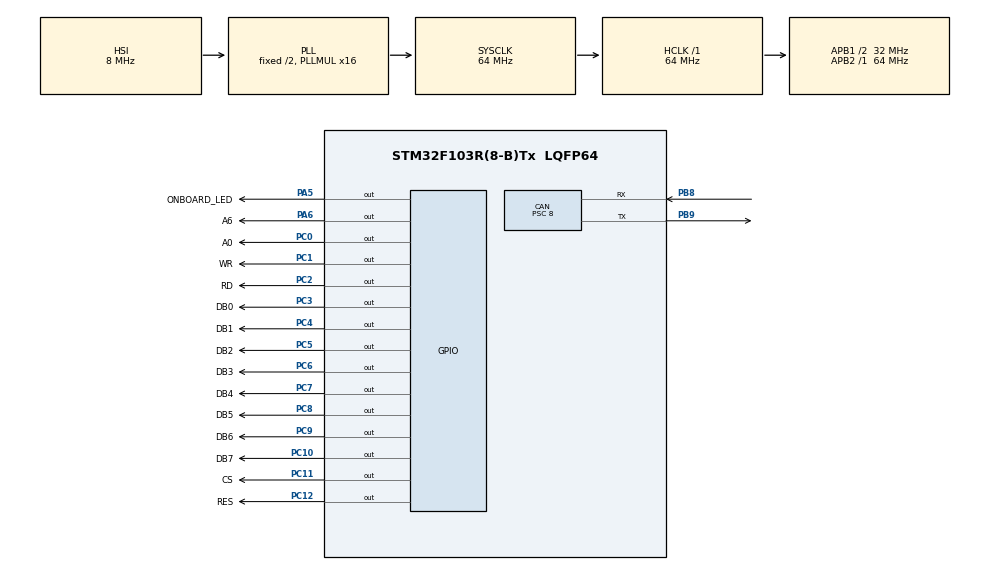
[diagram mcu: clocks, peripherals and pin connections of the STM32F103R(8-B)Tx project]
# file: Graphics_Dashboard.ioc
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CAN.BS1=CAN_BS1_13TQ
CAN.BS2=CAN_BS2_4TQ
CAN.CalculateBaudRate=222222
CAN.CalculateTimeBit=4500
CAN.CalculateTimeQuantum=250.0
CAN.Prescaler=8
Mcu.Family=STM32F1
Mcu.Name=STM32F103R(8-B)Tx
Mcu.Package=LQFP64
NVIC.PriorityGroup=NVIC_PRIORITYGROUP_4
NVIC.TIM2_IRQn=true\:0\:0\:false\:false\:true\:true\:true\:true
NVIC.USB_LP_CAN1_RX0_IRQn=true\:0\:0\:false\:false\:true\:true\:true\:true
PA5.GPIO_Label=ONBOARD_LED
PA5.Signal=GPIO_Output
PA6.GPIO_Label=A6
PA6.Signal=GPIO_Output
PB8.Mode=CAN_Activate
PB8.Signal=CAN_RX
PB9.Mode=CAN_Activate
PB9.Signal=CAN_TX
PC0.GPIO_Label=A0
PC0.Signal=GPIO_Output
PC1.GPIO_Label=WR
PC1.Signal=GPIO_Output
PC10.GPIO_Label=DB7
PC10.Signal=GPIO_Output
PC11.GPIO_Label=CS
PC11.Signal=GPIO_Output
PC12.GPIO_Label=RES
PC12.Signal=GPIO_Output
PC2.GPIO_Label=RD
PC2.Signal=GPIO_Output
PC3.GPIO_Label=DB0
PC3.Signal=GPIO_Output
PC4.GPIO_Label=DB1
PC4.Signal=GPIO_Output
PC5.GPIO_Label=DB2
PC5.Signal=GPIO_Output
PC6.GPIO_Label=DB3
PC6.Signal=GPIO_Output
PC7.GPIO_Label=DB4
PC7.Signal=GPIO_Output
PC8.GPIO_Label=DB5
PC8.Signal=GPIO_Output
PC9.GPIO_Label=DB6
PC9.Signal=GPIO_Output
ProjectManager.HeapSize=0x200
ProjectManager.StackSize=0x400
ProjectManager.TargetToolchain=STM32CubeIDE
RCC.AHBFreq_Value=64000000
RCC.APB1CLKDivider=RCC_HCLK_DIV2
RCC.APB1Freq_Value=32000000
RCC.APB1TimFreq_Value=64000000
RCC.APB2Freq_Value=64000000
RCC.APB2TimFreq_Value=64000000
RCC.HCLKFreq_Value=64000000
RCC.PLLMUL=RCC_PLL_MUL16
RCC.SYSCLKFreq_VALUE=64000000
RCC.SYSCLKSource=RCC_SYSCLKSOURCE_PLLCLK
RCC.USBFreq_Value=64000000
TIM2.Period=10000-1
TIM2.Prescaler=6400-1
VP_SYS_VS_ND.Mode=No_Debug
VP_TIM2_VS_ClockSourceINT.Mode=Internal
board=custom

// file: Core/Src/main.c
/* USER CODE BEGIN Header */
/**
 ******************************************************************************
 * @file           : main.c
 * @brief          : Main program body
 ******************************************************************************
 * @attention
 *
 * Copyright (c) 2022 STMicroelectronics.
 * All rights reserved.
 *
 * This software is licensed under terms that can be found in the LICENSE file
 * in the root directory of this software component.
 * If no LICENSE file comes with this software, it is provided AS-IS.
 *
 ******************************************************************************
 */
/* USER CODE END Header */
#include "main.h"
#include "can.h"
#include "tim.h"
#include "gpio.h"

/* USER CODE BEGIN Includes */

#include "Graphics/sed1335-driver.h"
#include "Graphics/sed1335-graphic.h"
#include "Graphics/Assets/font-lucida.h"
#include "Graphics/Assets/bitmap-solar-logo.h"

/* USER CODE END Includes */

void SystemClock_Config(void);

int main(void)
{

  /* MCU Configuration--------------------------------------------------------*/

  /* Reset of all peripherals, Initializes the Flash interface and the Systick. */
  HAL_Init();

  /* Configure the system clock */
  SystemClock_Config();

  /* Initialize all configured peripherals */
  MX_GPIO_Init();
  MX_CAN_Init();
  MX_TIM2_Init();
  /* USER CODE BEGIN 2 */

  GLCD_Initialize();

  /* USER CODE END 2 */

  /* Infinite loop */
	while (1) {

    /* USER CODE BEGIN 3 */
		// Toggle onboard LED to show activity
		HAL_GPIO_TogglePin(ONBOARD_LED_GPIO_Port, ONBOARD_LED_Pin);

		// Draw circle
		GLCD_Circle(0, 0, 10);
		GLCD_ClearText();
		HAL_Delay(500);

		// Draw UBC Solar logo
		GLCD_Bitmap(&BITMAP_SOLAR_LOGO, 0, 0, 200, 200);
		GLCD_ClearText();
		HAL_Delay(500);

		// Draw text from ROM
		GLCD_TextGoTo(0,0);
		GLCD_WriteText("Hello World");
		GLCD_ClearText();
		HAL_Delay(500);

		// Draw text from bitmap
		GLCD_WriteBitmapText("Hello World", 0, 0, LUCIDA_FONT);
		GLCD_ClearText();
		HAL_Delay(500);

		HAL_Delay(1000);
	}
  /* USER CODE END 3 */
}

void SystemClock_Config(void)
{
  RCC_OscInitTypeDef RCC_OscInitStruct = {0};
  RCC_ClkInitTypeDef RCC_ClkInitStruct = {0};

  /** Initializes the RCC Oscillators according to the specified parameters
  * in the RCC_OscInitTypeDef structure.
  */
  RCC_OscInitStruct.OscillatorType = RCC_OSCILLATORTYPE_HSI;
  RCC_OscInitStruct.HSIState = RCC_HSI_ON;
  RCC_OscInitStruct.HSICalibrationValue = RCC_HSICALIBRATION_DEFAULT;
  RCC_OscInitStruct.PLL.PLLState = RCC_PLL_ON;
  RCC_OscInitStruct.PLL.PLLSource = RCC_PLLSOURCE_HSI_DIV2;
  RCC_OscInitStruct.PLL.PLLMUL = RCC_PLL_MUL16;
  if (HAL_RCC_OscConfig(&RCC_OscInitStruct) != HAL_OK)
  {
    Error_Handler();
  }

  /** Initializes the CPU, AHB and APB buses clocks
  */
  RCC_ClkInitStruct.ClockType = RCC_CLOCKTYPE_HCLK|RCC_CLOCKTYPE_SYSCLK
                              |RCC_CLOCKTYPE_PCLK1|RCC_CLOCKTYPE_PCLK2;
  RCC_ClkInitStruct.SYSCLKSource = RCC_SYSCLKSOURCE_PLLCLK;
  RCC_ClkInitStruct.AHBCLKDivider = RCC_SYSCLK_DIV1;
  RCC_ClkInitStruct.APB1CLKDivider = RCC_HCLK_DIV2;
  RCC_ClkInitStruct.APB2CLKDivider = RCC_HCLK_DIV1;

  if (HAL_RCC_ClockConfig(&RCC_ClkInitStruct, FLASH_LATENCY_2) != HAL_OK)
  {
    Error_Handler();
  }
}

void Error_Handler(void)
{
	__disable_irq();
	while (1) {
	}
}
